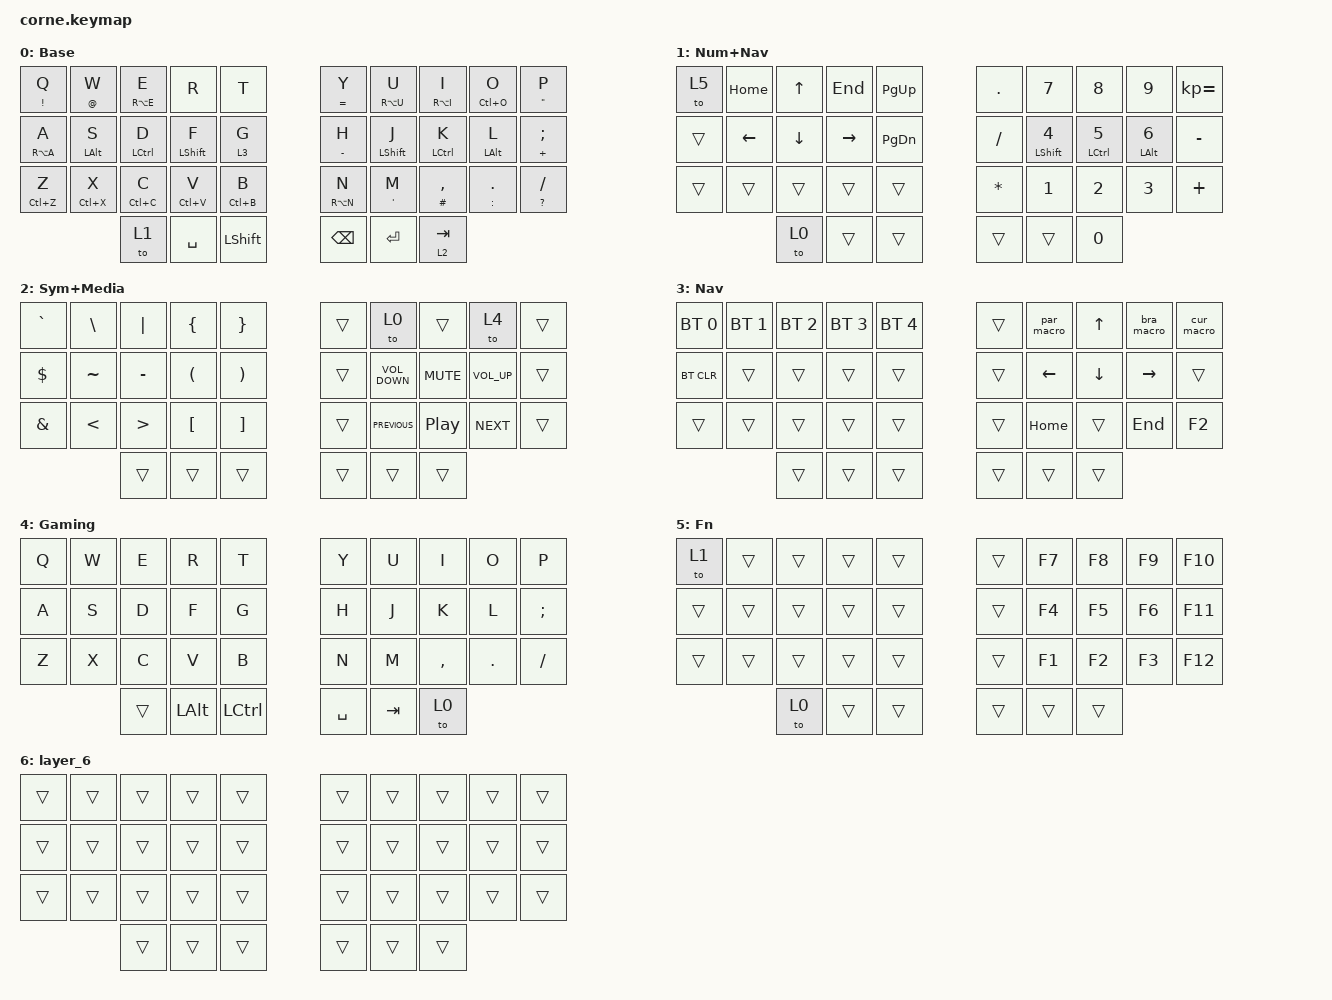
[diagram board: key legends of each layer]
/*
 * Copyright (c) 2020 The ZMK Contributors
 *
 * SPDX-License-Identifier: MIT
 */

#include <behaviors.dtsi>
#include <dt-bindings/zmk/bt.h>
#include <dt-bindings/zmk/keys.h>

/ {
    chosen { zmk,matrix_transform = &five_column_transform; };

    behaviors {
        kht: kht {
            compatible = "zmk,behavior-hold-tap";
            label = "Key hold tap";
            bindings = <&kp>, <&kp>;

            #binding-cells = <2>;
            tapping-term-ms = <200>;
            quick-tap-ms = <200>;
            require-prior-idle-ms = <125>;
            flavor = "tap-preferred";
        };
    };

    macros {
        par_macro: par_macro {
            compatible = "zmk,behavior-macro";
            #binding-cells = <0>;
            bindings = <&kp LPAR &kp RPAR &kp LEFT>;
            label = "PAR_MACRO";
        };

        bra_macro: bra_macro {
            compatible = "zmk,behavior-macro";
            #binding-cells = <0>;
            bindings = <&kp LEFT_BRACKET &kp RIGHT_BRACKET &kp LEFT>;
            label = "BRA_MACRO";
        };

        cur_macro: cur_macro {
            compatible = "zmk,behavior-macro";
            #binding-cells = <0>;
            bindings = <&kp LEFT_BRACE &kp RIGHT_BRACE &kp LEFT_ARROW>;
            label = "CUR_MACRO";
        };

        quo_macro: new_macro {
            compatible = "zmk,behavior-macro";
            #binding-cells = <0>;
            bindings = <&kp DOUBLE_QUOTES &kp DOUBLE_QUOTES &kp LEFT_ARROW>;
            label = "NEW_MACRO";
        };

        min_max_macro: min_max_macro {
            compatible = "zmk,behavior-macro";
            #binding-cells = <0>;
            bindings = <&kp LESS_THAN &kp GREATER_THAN &kp LEFT>;
            label = "MIN_MAX_MACRO";
        };

        bkt_macro: bkt_macro {
            compatible = "zmk,behavior-macro";
            #binding-cells = <0>;
            bindings = <&kp GRAVE &kp GRAVE &kp LEFT_ARROW>;
            label = "BKT_MACRO";
        };
    };

    combos {
        compatible = "zmk,combos";

        combo_esc {
            bindings = <&kp ESC>;
            key-positions = <11 12>;
        };

        combo_tab {
            bindings = <&kp TAB>;
            key-positions = <11 13 12>;
        };

        combo_win {
            bindings = <&kp LEFT_WIN>;
            key-positions = <16 17>;
        };

        combo_del {
            bindings = <&kp DELETE>;
            key-positions = <32 33>;
        };

        combo_caps {
            bindings = <&kp CAPSLOCK>;
            key-positions = <14 15>;
        };

        combo_prtsc {
            bindings = <&kp PSCRN>;
            key-positions = <20 9>;
        };

        combo_ralt {
            bindings = <&kp RIGHT_ALT>;
            key-positions = <31 34>;
        };
    };

    keymap {
        compatible = "zmk,keymap";

        base {
            // -----------------------------------------------------------------------------------------
            // |  Q  |  W  |  E  |  R  |  T  |     |  Y  |  U   |  I   |  O   | P |
            // |  A  |  S  |  D  |  F  |  G  |     |  H  |  J   |  K   |  L   | ' | 
            // |  Z  |  X  |  C  |  V  |  B  |     |  N  |  M   | CTRL | META | . |
            //             | GUI | LWR | SPC |     | ENT | RSE  | BSPC |

            display-name = "Base";
            bindings = <
  &kht EXCLAMATION Q  &kht AT_SIGN W   &kht RA(E) E  &kp R              &kp T             &kht EQUAL Y   &kht RA(U) U       &kht RA(I) I     &kht LC(O) O     &kht DOUBLE_QUOTES P
  &kht RA(A) A        &kht LEFT_ALT S  &kht LCTRL D  &kht LEFT_SHIFT F  &lt 3 G           &kht MINUS H   &kht LEFT_SHIFT J  &kht LCTRL K     &kht LEFT_ALT L  &kht PLUS SEMICOLON
  &kht LC(Z) Z        &kht LC(X) X     &kht LC(C) C  &kht LC(V) V       &kht LC(B) B      &kht RA(N) N   &kht SQT M         &kht HASH COMMA  &kht COLON DOT   &kht QUESTION SLASH
                                       &to 1         &kp SPACE          &kp LEFT_SHIFT    &kp BACKSPACE  &kp RET            &lt 2 TAB
            >;
        };

        num_nav {
            // -----------------------------------------------------------------------------------------
            // |  1  |  2  |  3  |  4  |  5  |   |  6  |  7  |  8  |  9  |  0  |
            // | BT1 | BT2 | BT3 | BT4 | BT5 |   | LFT | DWN |  UP | RGT |     |
            // |     |     |     |     |     |   |     |     |     |     |     |
            //               | GUI |     | SPC |   | ENT |     | ALT |

            display-name = "Num+Nav";
            bindings = <
  &to 5   &kp HOME  &kp UP_ARROW    &kp END    &kp PG_UP    &kp PERIOD    &kp N7                    &kp N8         &kp N9                  &kp KP_EQUAL
  &trans  &kp LEFT  &kp DOWN_ARROW  &kp RIGHT  &kp PG_DN    &kp SLASH     &kht LEFT_SHIFT NUMBER_4  &kht LCTRL N5  &kht LEFT_ALT NUMBER_6  &kp MINUS
  &trans  &trans    &trans          &trans     &trans       &kp ASTERISK  &kp NUMBER_1              &kp NUMBER_2   &kp NUMBER_3            &kp PLUS
                    &to 0           &trans     &trans       &trans        &trans                    &kp N0
            >;
        };

        sym_media {
            // -----------------------------------------------------------------------------------------
            // |  !  |  @  |  #  |  $  |  %  |   |  ^  |  &  |  *  |  (  |  )  |
            // |     |     |     |     |     |   |  -  |  =  |  [  |  ]  |  \  |
            // |     |     |     |     |     |   |  _  |  +  |  {  |  }  | "|" |
            //            | GUI |     | SPC |   | ENT |     | ALT |

            display-name = "Sym+Media";
            bindings = <
  &kp GRAVE      &kp BACKSLASH  &kp PIPE          &kp LEFT_BRACE    &kp RBRC             &trans  &to 0              &trans            &to 4            &trans
  &kp DOLLAR     &kp TILDE      &kp MINUS         &kp LPAR          &kp RPAR             &trans  &kp C_VOLUME_DOWN  &kp C_MUTE        &kp C_VOLUME_UP  &trans
  &kp AMPERSAND  &kp LESS_THAN  &kp GREATER_THAN  &kp LEFT_BRACKET  &kp RIGHT_BRACKET    &trans  &kp C_PREVIOUS     &kp C_PLAY_PAUSE  &kp C_NEXT       &trans
                                &trans            &trans            &trans               &trans  &trans             &trans
            >;
        };

        nav_layer {
            display-name = "Nav";
            bindings = <
  &bt BT_SEL 0  &bt BT_SEL 1  &bt BT_SEL 2  &bt BT_SEL 3  &bt BT_SEL 4    &trans  &par_macro  &kp UP_ARROW  &bra_macro  &cur_macro
  &bt BT_CLR    &trans        &trans        &trans        &trans          &trans  &kp LEFT    &kp DOWN      &kp RIGHT   &trans
  &trans        &trans        &trans        &trans        &trans          &trans  &kp HOME    &trans        &kp END     &kp F2
                              &trans        &trans        &trans          &trans  &trans      &trans
            >;
        };

        gaming {
            display-name = "Gaming";
            bindings = <
  &kp Q  &kp W  &kp E   &kp R         &kp T        &kp Y      &kp U    &kp I      &kp O    &kp P
  &kp A  &kp S  &kp D   &kp F         &kp G        &kp H      &kp J    &kp K      &kp L    &kp SEMI
  &kp Z  &kp X  &kp C   &kp V         &kp B        &kp N      &kp M    &kp COMMA  &kp DOT  &kp FSLH
                &trans  &kp LEFT_ALT  &kp LCTRL    &kp SPACE  &kp TAB  &to 0
            >;
        };

        fn {
            display-name = "Fn";
            bindings = <
  &to 1   &trans  &trans  &trans  &trans    &trans  &kp F7  &kp F8  &kp F9  &kp F10
  &trans  &trans  &trans  &trans  &trans    &trans  &kp F4  &kp F5  &kp F6  &kp F11
  &trans  &trans  &trans  &trans  &trans    &trans  &kp F1  &kp F2  &kp F3  &kp F12
                  &to 0   &trans  &trans    &trans  &trans  &trans
            >;
        };

        layer_6 {
            bindings = <
  &trans  &trans  &trans  &trans  &trans    &trans  &trans  &trans  &trans  &trans
  &trans  &trans  &trans  &trans  &trans    &trans  &trans  &trans  &trans  &trans
  &trans  &trans  &trans  &trans  &trans    &trans  &trans  &trans  &trans  &trans
                  &trans  &trans  &trans    &trans  &trans  &trans
            >;
        };
    };
};
